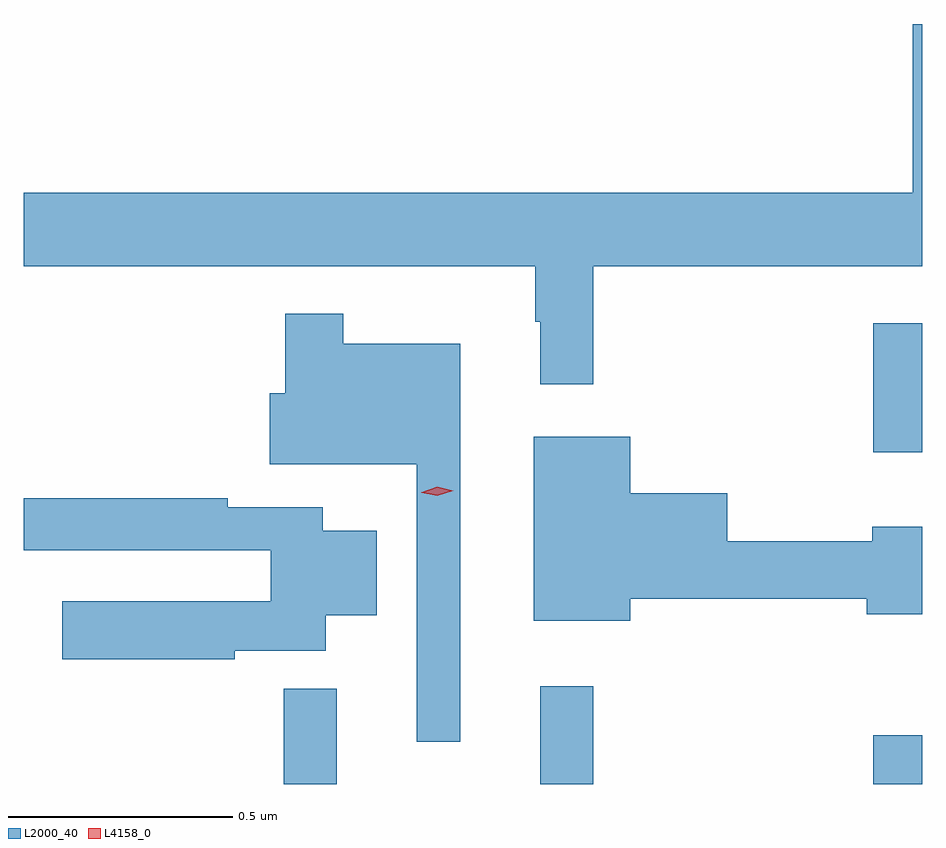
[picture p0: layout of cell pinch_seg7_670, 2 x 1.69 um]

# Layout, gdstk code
import gdstk
lib = gdstk.Library(unit=1e-6, precision=1e-09)
def R(c, l, rs):  # rectangles x0, y0, x1, y1
    for r in rs: c.add(gdstk.rectangle(r[:2], r[2:], *l))
def P(c, l, *ps):  # polygons
    for p in ps: c.add(gdstk.Polygon(p, *l))
L2000_40 = (2000, 40)
L4158_0 = (4158, 0)

pinch_seg7_670 = lib.new_cell('pinch_seg7_670')
R(pinch_seg7_670, L2000_40, [(115.657,1030.1,115.775,1030.312), (116.228,1030.1,116.345,1030.318), (116.969,1030.1,117.078,1030.208), (116.969,1030.838,117.078,1031.125)])
P(pinch_seg7_670, L2000_40, [(116.345,1031.252),(117.078,1031.252),(117.078,1031.791),(117.056,1031.791),(117.056,1031.416),(115.078,1031.416),(115.078,1031.252),(116.217,1031.252),(116.217,1031.129),(116.228,1031.129),(116.228,1030.989),(116.345,1030.989)],
  [(116.05,1031.08),(115.789,1031.08),(115.789,1031.146),(115.66,1031.146),(115.66,1030.969),(115.626,1030.969),(115.626,1030.811),(115.953,1030.811),(115.953,1030.194),(116.05,1030.194)],
  [(116.428,1030.512),(116.954,1030.512),(116.954,1030.478),(117.078,1030.478),(117.078,1030.672),(116.966,1030.672),(116.966,1030.64),(116.644,1030.64),(116.644,1030.747),(116.428,1030.747),(116.428,1030.873),(116.213,1030.873),(116.213,1030.463),(116.428,1030.463)],
  [(115.548,1030.397),(115.75,1030.397),(115.75,1030.475),(115.864,1030.475),(115.864,1030.663),(115.744,1030.663),(115.744,1030.716),(115.532,1030.716),(115.532,1030.736),(115.078,1030.736),(115.078,1030.62),(115.628,1030.62),(115.628,1030.507),(115.164,1030.507),(115.164,1030.378),(115.548,1030.378)])
P(pinch_seg7_670, L4158_0, [(115.999,1030.741),(115.964,1030.748),(115.963,1030.749),(115.964,1030.749),(115.998,1030.761),(116.034,1030.753),(116.034,1030.753),(116.034,1030.753)])

lib.write_gds('pinch_seg7_670.gds')
